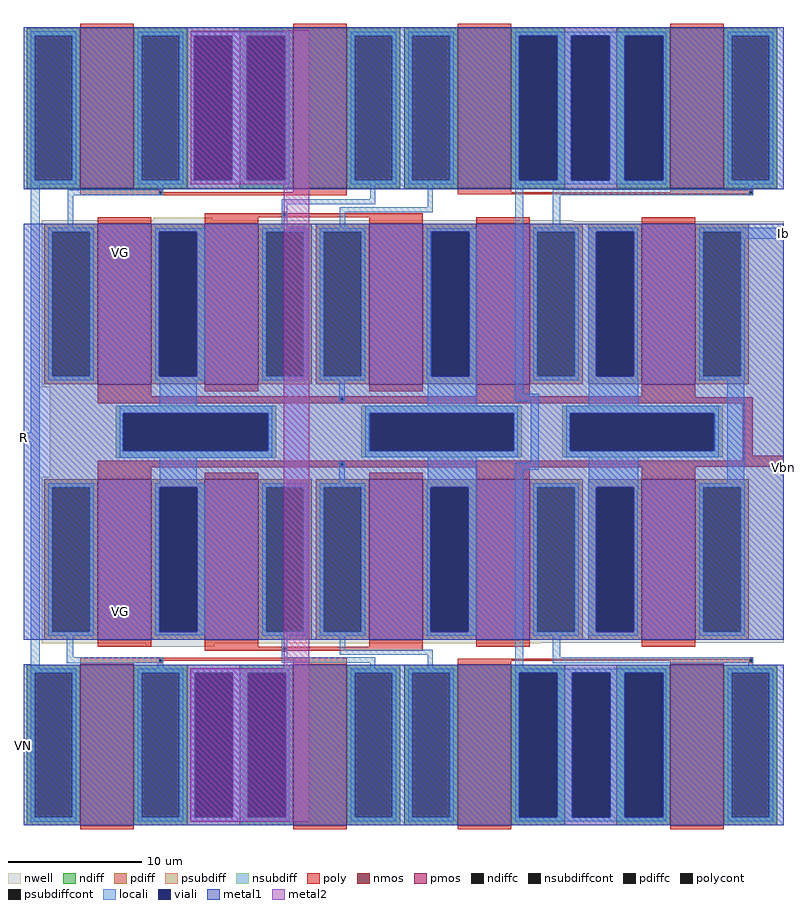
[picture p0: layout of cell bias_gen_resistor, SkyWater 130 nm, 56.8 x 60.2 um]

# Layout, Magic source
magic
tech sky130A
<< nwell >>
rect 1000 4905 1435 4925
rect 160 4900 4130 4905
rect 160 4899 5650 4900
rect 160 3660 5705 4899
rect 220 2990 5705 3660
rect 160 1750 5705 2990
rect 160 1745 3890 1750
rect 5506 1749 5705 1750
rect 940 1720 1450 1745
<< nmos >>
rect 450 5145 850 6345
rect 2040 5145 2440 6345
rect 3270 5145 3670 6345
rect 4860 5145 5260 6345
rect 450 385 850 1585
rect 2040 385 2440 1585
rect 3270 385 3670 1585
rect 4860 385 5260 1585
<< pmos >>
rect 580 3680 980 4880
rect 1380 3680 1780 4880
rect 2610 3680 3010 4880
rect 3410 3680 3810 4880
rect 4645 3680 5045 4880
rect 580 1770 980 2970
rect 1380 1770 1780 2970
rect 2610 1770 3010 2970
rect 3410 1770 3810 2970
rect 4645 1770 5045 2970
<< ndiff >>
rect 50 6285 450 6345
rect 50 5205 110 6285
rect 390 5205 450 6285
rect 50 5145 450 5205
rect 850 6285 1250 6345
rect 1640 6285 2040 6345
rect 850 5205 910 6285
rect 1190 5205 1250 6285
rect 1640 5205 1700 6285
rect 1980 5205 2040 6285
rect 850 5145 1250 5205
rect 1640 5145 2040 5205
rect 2440 6285 2840 6345
rect 2440 5205 2500 6285
rect 2780 5205 2840 6285
rect 2440 5145 2840 5205
rect 2870 6285 3270 6345
rect 2870 5205 2930 6285
rect 3210 5205 3270 6285
rect 2870 5145 3270 5205
rect 3670 6285 4070 6345
rect 4460 6285 4860 6345
rect 3670 5205 3730 6285
rect 4010 5205 4070 6285
rect 4460 5205 4520 6285
rect 4800 5205 4860 6285
rect 3670 5145 4070 5205
rect 4460 5145 4860 5205
rect 5260 6285 5660 6345
rect 5260 5205 5320 6285
rect 5600 5205 5660 6285
rect 5260 5145 5660 5205
rect 50 1525 450 1585
rect 50 445 110 1525
rect 390 445 450 1525
rect 50 385 450 445
rect 850 1525 1250 1585
rect 1640 1525 2040 1585
rect 850 445 910 1525
rect 1190 445 1250 1525
rect 1640 445 1700 1525
rect 1980 445 2040 1525
rect 850 385 1250 445
rect 1640 385 2040 445
rect 2440 1525 2840 1585
rect 2440 445 2500 1525
rect 2780 445 2840 1525
rect 2440 385 2840 445
rect 2870 1525 3270 1585
rect 2870 445 2930 1525
rect 3210 445 3270 1525
rect 2870 385 3270 445
rect 3670 1525 4070 1585
rect 4460 1525 4860 1585
rect 3670 445 3730 1525
rect 4010 445 4070 1525
rect 4460 445 4520 1525
rect 4800 445 4860 1525
rect 3670 385 4070 445
rect 4460 385 4860 445
rect 5260 1525 5660 1585
rect 5260 445 5320 1525
rect 5600 445 5660 1525
rect 5260 385 5660 445
<< pdiff >>
rect 180 4820 580 4880
rect 180 3740 240 4820
rect 520 3740 580 4820
rect 180 3680 580 3740
rect 980 4820 1380 4880
rect 980 3740 1040 4820
rect 1320 3740 1380 4820
rect 980 3680 1380 3740
rect 1780 4820 2180 4880
rect 1780 3740 1840 4820
rect 2120 3740 2180 4820
rect 1780 3680 2180 3740
rect 2210 4820 2610 4880
rect 2210 3740 2270 4820
rect 2550 3740 2610 4820
rect 2210 3680 2610 3740
rect 3010 4820 3410 4880
rect 3010 3740 3070 4820
rect 3350 3740 3410 4820
rect 3010 3680 3410 3740
rect 3810 4820 4205 4880
rect 3810 3740 3865 4820
rect 4145 3740 4205 4820
rect 3810 3680 4205 3740
rect 4245 4820 4645 4880
rect 4245 3740 4305 4820
rect 4585 3740 4645 4820
rect 4245 3680 4645 3740
rect 5045 4820 5445 4880
rect 5045 3740 5105 4820
rect 5385 3740 5445 4820
rect 5045 3680 5445 3740
rect 180 2910 580 2970
rect 180 1830 240 2910
rect 520 1830 580 2910
rect 180 1770 580 1830
rect 980 2910 1380 2970
rect 980 1830 1040 2910
rect 1320 1830 1380 2910
rect 980 1770 1380 1830
rect 1780 2910 2180 2970
rect 1780 1830 1840 2910
rect 2120 1830 2180 2910
rect 1780 1770 2180 1830
rect 2210 2910 2610 2970
rect 2210 1830 2270 2910
rect 2550 1830 2610 2910
rect 2210 1770 2610 1830
rect 3010 2910 3410 2970
rect 3010 1830 3070 2910
rect 3350 1830 3410 2910
rect 3010 1770 3410 1830
rect 3810 2910 4205 2970
rect 3810 1830 3865 2910
rect 4145 1830 4205 2910
rect 3810 1770 4205 1830
rect 4245 2910 4645 2970
rect 4245 1830 4305 2910
rect 4585 1830 4645 2910
rect 4245 1770 4645 1830
rect 5045 2910 5445 2970
rect 5045 1830 5105 2910
rect 5385 1830 5445 2910
rect 5045 1770 5445 1830
<< ndiffc >>
rect 110 5205 390 6285
rect 910 5205 1190 6285
rect 1700 5205 1980 6285
rect 2500 5205 2780 6285
rect 2930 5205 3210 6285
rect 3730 5205 4010 6285
rect 4520 5205 4800 6285
rect 5320 5205 5600 6285
rect 110 445 390 1525
rect 910 445 1190 1525
rect 1700 445 1980 1525
rect 2500 445 2780 1525
rect 2930 445 3210 1525
rect 3730 445 4010 1525
rect 4520 445 4800 1525
rect 5320 445 5600 1525
<< pdiffc >>
rect 240 3740 520 4820
rect 1040 3740 1320 4820
rect 1840 3740 2120 4820
rect 2270 3740 2550 4820
rect 3070 3740 3350 4820
rect 3865 3740 4145 4820
rect 4305 3740 4585 4820
rect 5105 3740 5385 4820
rect 240 1830 520 2910
rect 1040 1830 1320 2910
rect 1840 1830 2120 2910
rect 2270 1830 2550 2910
rect 3070 1830 3350 2910
rect 3865 1830 4145 2910
rect 4305 1830 4585 2910
rect 5105 1830 5385 2910
<< psubdiff >>
rect 1250 6285 1640 6345
rect 1250 5205 1305 6285
rect 1585 5205 1640 6285
rect 1250 5145 1640 5205
rect 4070 6285 4460 6345
rect 4070 5205 4125 6285
rect 4405 5205 4460 6285
rect 4070 5145 4460 5205
rect 1250 1525 1640 1585
rect 1250 445 1305 1525
rect 1585 445 1640 1525
rect 1250 385 1640 445
rect 4070 1525 4460 1585
rect 4070 445 4125 1525
rect 4405 445 4460 1525
rect 4070 385 4460 445
<< nsubdiff >>
rect 715 3465 1915 3520
rect 715 3185 775 3465
rect 1855 3185 1915 3465
rect 715 3130 1915 3185
rect 2550 3465 3750 3520
rect 2550 3185 2610 3465
rect 3690 3185 3750 3465
rect 2550 3135 3750 3185
rect 4050 3465 5250 3520
rect 4050 3185 4110 3465
rect 5190 3185 5250 3465
rect 4050 3135 5250 3185
<< psubdiffcont >>
rect 1305 5205 1585 6285
rect 4125 5205 4405 6285
rect 1305 445 1585 1525
rect 4125 445 4405 1525
<< nsubdiffcont >>
rect 775 3185 1855 3465
rect 2610 3185 3690 3465
rect 4110 3185 5190 3465
<< poly >>
rect 450 6345 850 6375
rect 2040 6345 2440 6375
rect 3270 6345 3670 6375
rect 4860 6345 5260 6375
rect 450 5135 850 5145
rect 450 5125 1070 5135
rect 450 5105 1040 5125
rect 1060 5115 1070 5125
rect 2040 5115 2440 5145
rect 1060 5105 2440 5115
rect 450 5095 2440 5105
rect 3270 5115 3670 5145
rect 4860 5135 5260 5145
rect 4860 5125 5480 5135
rect 4860 5115 5450 5125
rect 3270 5105 5450 5115
rect 5470 5105 5480 5125
rect 3270 5100 5480 5105
rect 5440 5095 5480 5100
rect 1955 4960 1995 4970
rect 1380 4940 1965 4960
rect 1985 4940 3010 4960
rect 1380 4930 3010 4940
rect 580 4880 980 4930
rect 1380 4880 1780 4930
rect 2610 4880 3010 4930
rect 3410 4880 3810 4930
rect 4645 4880 5045 4930
rect 580 3590 980 3680
rect 1380 3630 1780 3680
rect 2610 3630 3010 3680
rect 3410 3590 3810 3680
rect 4645 3590 5045 3680
rect 580 3585 5045 3590
rect 580 3580 5475 3585
rect 580 3560 2395 3580
rect 2415 3560 5475 3580
rect 580 3540 5475 3560
rect 5400 3145 5475 3540
rect 5643 3145 5705 3146
rect 5400 3110 5705 3145
rect 580 3090 5705 3110
rect 580 3070 2395 3090
rect 2415 3087 5705 3090
rect 2415 3070 5675 3087
rect 580 3065 5675 3070
rect 580 3060 5045 3065
rect 580 2970 980 3060
rect 3405 3055 3810 3060
rect 1380 2970 1780 3020
rect 2610 2970 3010 3020
rect 3410 2970 3810 3055
rect 4645 2970 5045 3060
rect 5665 3027 5675 3065
rect 5695 3027 5705 3087
rect 5665 3017 5705 3027
rect 580 1720 980 1770
rect 1380 1720 1780 1770
rect 2610 1720 3010 1770
rect 3410 1720 3810 1770
rect 4645 1720 5045 1770
rect 1380 1710 3010 1720
rect 1380 1690 1965 1710
rect 1985 1690 3010 1710
rect 1955 1680 1995 1690
rect 450 1625 2440 1635
rect 5440 1630 5480 1635
rect 450 1605 1040 1625
rect 1060 1615 2440 1625
rect 1060 1605 1070 1615
rect 450 1595 1070 1605
rect 450 1585 850 1595
rect 2040 1585 2440 1615
rect 3270 1625 5480 1630
rect 3270 1615 5450 1625
rect 3270 1585 3670 1615
rect 4860 1605 5450 1615
rect 5470 1605 5480 1625
rect 4860 1595 5480 1605
rect 4860 1585 5260 1595
rect 450 355 850 385
rect 2040 355 2440 385
rect 3270 355 3670 385
rect 4860 355 5260 385
<< polycont >>
rect 1040 5105 1060 5125
rect 5450 5105 5470 5125
rect 1965 4940 1985 4960
rect 2395 3560 2415 3580
rect 2395 3070 2415 3090
rect 5675 3027 5695 3087
rect 1965 1690 1985 1710
rect 1040 1605 1060 1625
rect 5450 1605 5470 1625
<< locali >>
rect 80 6285 420 6320
rect 80 5205 110 6285
rect 390 5205 420 6285
rect 80 5175 420 5205
rect 880 6285 1220 6315
rect 880 5205 910 6285
rect 1190 5205 1220 6285
rect 880 5175 1220 5205
rect 1275 6285 2010 6315
rect 1275 5205 1300 6285
rect 1585 5205 1695 6285
rect 1980 5205 2010 6285
rect 1275 5175 2010 5205
rect 2470 6285 2810 6315
rect 2470 5205 2500 6285
rect 2780 5205 2810 6285
rect 2470 5175 2810 5205
rect 2900 6285 3240 6315
rect 2900 5205 2930 6285
rect 3210 5205 3240 6285
rect 2900 5175 3240 5205
rect 3700 6285 4830 6315
rect 3700 5205 3730 6285
rect 4015 5205 4120 6285
rect 4405 5205 4520 6285
rect 4805 5205 4830 6285
rect 3700 5175 4830 5205
rect 5290 6285 5630 6315
rect 5290 5205 5320 6285
rect 5600 5205 5630 6285
rect 5290 5175 5630 5205
rect 80 3320 145 5175
rect 1030 5135 1070 5175
rect 355 5125 1070 5135
rect 355 5105 1040 5125
rect 1060 5105 1070 5125
rect 355 5095 1070 5105
rect 355 4850 395 5095
rect 2615 5065 2655 5175
rect 1955 5025 2655 5065
rect 1955 4960 1995 5025
rect 3045 5005 3085 5175
rect 1955 4940 1965 4960
rect 1985 4940 1995 4960
rect 210 4820 550 4850
rect 1955 4845 1995 4940
rect 2390 4965 3085 5005
rect 2390 4845 2430 4965
rect 210 3740 240 4820
rect 520 3740 550 4820
rect 210 3710 550 3740
rect 1010 4820 1380 4845
rect 1010 3740 1040 4820
rect 1320 3740 1380 4820
rect 1010 3710 1380 3740
rect 1810 4820 2150 4845
rect 1810 3740 1840 4820
rect 2120 3740 2150 4820
rect 1810 3710 2150 3740
rect 2240 4820 2580 4845
rect 2240 3740 2270 4820
rect 2550 3740 2580 4820
rect 2240 3710 2580 3740
rect 3040 4820 3410 4845
rect 3040 3740 3070 4820
rect 3355 3740 3410 4820
rect 3040 3710 3410 3740
rect 1045 3520 1320 3710
rect 2385 3580 2425 3710
rect 2385 3560 2395 3580
rect 2415 3560 2425 3580
rect 2385 3550 2425 3560
rect 3045 3520 3410 3710
rect 3700 3610 3760 5175
rect 5440 5140 5480 5175
rect 3980 5125 5480 5140
rect 3980 5105 5450 5125
rect 5470 5105 5480 5125
rect 3980 5095 5480 5105
rect 3980 4850 4035 5095
rect 3835 4820 4175 4850
rect 3835 3740 3865 4820
rect 4145 3740 4175 4820
rect 3835 3710 4175 3740
rect 4245 4820 4615 4850
rect 4245 3740 4305 4820
rect 4585 3740 4615 4820
rect 4245 3710 4615 3740
rect 5075 4820 5705 4850
rect 5075 3740 5105 4820
rect 5385 4770 5705 4820
rect 5385 3740 5415 4770
rect 5075 3715 5415 3740
rect 5075 3710 5205 3715
rect 5275 3710 5415 3715
rect 3700 3555 3875 3610
rect 25 3250 145 3320
rect 80 1555 145 3250
rect 745 3465 1885 3520
rect 745 3185 770 3465
rect 1855 3185 1885 3465
rect 745 3130 1885 3185
rect 2580 3465 3720 3520
rect 2580 3185 2610 3465
rect 3690 3185 3720 3465
rect 2580 3135 3720 3185
rect 1045 2940 1320 3130
rect 2385 3090 2425 3100
rect 2385 3070 2395 3090
rect 2415 3070 2425 3090
rect 2385 2940 2425 3070
rect 3045 2940 3410 3135
rect 3815 3095 3875 3555
rect 4250 3520 4620 3710
rect 4080 3465 5220 3520
rect 4080 3185 4110 3465
rect 5190 3185 5220 3465
rect 4080 3135 5220 3185
rect 210 2910 550 2940
rect 210 1830 240 2910
rect 520 1830 550 2910
rect 210 1800 550 1830
rect 1010 2910 1380 2940
rect 1010 1830 1040 2910
rect 1325 1830 1380 2910
rect 1010 1805 1380 1830
rect 1810 2910 2150 2940
rect 1810 1830 1840 2910
rect 2120 1830 2150 2910
rect 1810 1800 2150 1830
rect 2240 2910 2580 2940
rect 2240 1830 2270 2910
rect 2550 1830 2580 2910
rect 2240 1800 2580 1830
rect 3040 2910 3410 2940
rect 3040 1830 3070 2910
rect 3350 1830 3410 2910
rect 3040 1800 3410 1830
rect 3700 3040 3875 3095
rect 350 1640 395 1800
rect 1955 1710 1995 1800
rect 1955 1690 1965 1710
rect 1985 1690 1995 1710
rect 1955 1640 1995 1690
rect 2390 1695 2430 1800
rect 2390 1660 3085 1695
rect 350 1625 1070 1640
rect 350 1605 1040 1625
rect 1060 1605 1070 1625
rect 350 1595 1070 1605
rect 1955 1600 2655 1640
rect 1030 1555 1070 1595
rect 2615 1555 2655 1600
rect 3045 1555 3085 1660
rect 3700 1555 3760 3040
rect 4250 2940 4620 3135
rect 5285 2940 5410 3710
rect 5665 3087 5705 3097
rect 5665 3027 5675 3087
rect 5695 3027 5705 3087
rect 5665 3017 5705 3027
rect 3835 2910 4175 2940
rect 3835 1830 3865 2910
rect 4145 1830 4175 2910
rect 3835 1800 4175 1830
rect 4245 2910 4620 2940
rect 4245 1830 4305 2910
rect 4585 2885 4620 2910
rect 5075 2910 5415 2940
rect 4585 1830 4615 2885
rect 4245 1800 4615 1830
rect 5075 1830 5105 2910
rect 5385 1830 5415 2910
rect 5075 1800 5415 1830
rect 3980 1640 4035 1800
rect 3980 1625 5480 1640
rect 3980 1605 5450 1625
rect 5470 1605 5480 1625
rect 3980 1595 5480 1605
rect 5440 1555 5480 1595
rect 80 1525 420 1555
rect 80 445 110 1525
rect 390 445 420 1525
rect 80 410 420 445
rect 880 1525 1220 1555
rect 880 445 910 1525
rect 1190 445 1220 1525
rect 880 415 1220 445
rect 1275 1525 2010 1555
rect 1275 445 1305 1525
rect 1590 445 1700 1525
rect 1985 445 2010 1525
rect 1275 415 2010 445
rect 2470 1525 2810 1555
rect 2470 445 2500 1525
rect 2780 445 2810 1525
rect 2470 415 2810 445
rect 2900 1525 3240 1555
rect 2900 445 2930 1525
rect 3210 445 3240 1525
rect 2900 415 3240 445
rect 3700 1525 4830 1555
rect 3700 445 3730 1525
rect 4015 445 4125 1525
rect 4410 445 4520 1525
rect 4805 445 4830 1525
rect 3700 415 4830 445
rect 5290 1525 5630 1555
rect 5290 445 5320 1525
rect 5600 445 5630 1525
rect 5290 415 5630 445
<< viali >>
rect 1300 5205 1305 6285
rect 1305 5205 1585 6285
rect 1695 5205 1700 6285
rect 1700 5205 1980 6285
rect 3730 5205 4010 6285
rect 4010 5205 4015 6285
rect 4120 5205 4125 6285
rect 4125 5205 4405 6285
rect 4520 5205 4800 6285
rect 4800 5205 4805 6285
rect 1040 3740 1320 4820
rect 3075 3740 3350 4820
rect 3350 3740 3355 4820
rect 4305 3740 4585 4820
rect 770 3185 775 3465
rect 775 3185 1850 3465
rect 2615 3185 3690 3465
rect 4110 3185 5185 3465
rect 1045 1830 1320 2910
rect 1320 1830 1325 2910
rect 3070 1830 3350 2910
rect 4305 1830 4585 2910
rect 1305 445 1585 1525
rect 1585 445 1590 1525
rect 1700 445 1980 1525
rect 1980 445 1985 1525
rect 3730 445 4010 1525
rect 4010 445 4015 1525
rect 4125 445 4405 1525
rect 4405 445 4410 1525
rect 4520 445 4800 1525
rect 4800 445 4805 1525
<< metal1 >>
rect 25 6285 5705 6350
rect 25 5205 1300 6285
rect 1585 5205 1695 6285
rect 1980 5205 3730 6285
rect 4015 5205 4120 6285
rect 4405 5205 4520 6285
rect 4805 5205 5705 6285
rect 25 5140 5705 5205
rect 25 4820 5705 4880
rect 25 3740 1040 4820
rect 1320 3740 3075 4820
rect 3355 3740 4305 4820
rect 4585 3740 5705 4820
rect 25 3465 5705 3740
rect 25 3185 770 3465
rect 1850 3185 2615 3465
rect 3690 3185 4110 3465
rect 5185 3185 5705 3465
rect 25 2910 5705 3185
rect 25 1830 1045 2910
rect 1325 1830 3070 2910
rect 3350 1830 4305 2910
rect 4585 1830 5705 2910
rect 25 1770 5705 1830
rect 25 1585 75 1590
rect 25 1525 5705 1585
rect 25 445 1305 1525
rect 1590 445 1700 1525
rect 1985 445 3730 1525
rect 4015 445 4125 1525
rect 4410 445 4520 1525
rect 4805 445 5705 1525
rect 25 385 5705 445
<< metal2 >>
rect 1969 6323 2160 6325
rect 1274 5176 2160 6323
rect 1969 1559 2160 5176
rect 1273 412 2160 1559
<< labels >>
flabel pmos 605 1795 900 2175 0 FreeSans 800 0 0 0 VG
flabel pmos 605 4475 900 4855 0 FreeSans 800 0 0 0 VG
rlabel locali 25 3285 25 3285 7 R
port 1 w
rlabel metal1 25 3365 25 3365 7 VP
port 2 w
rlabel locali 5705 4810 5705 4810 3 Ib
port 4 e
rlabel metal1 25 979 25 979 7 VN
port 3 w
rlabel locali 5705 3057 5705 3057 3 Vbn
port 5 e
<< end >>
